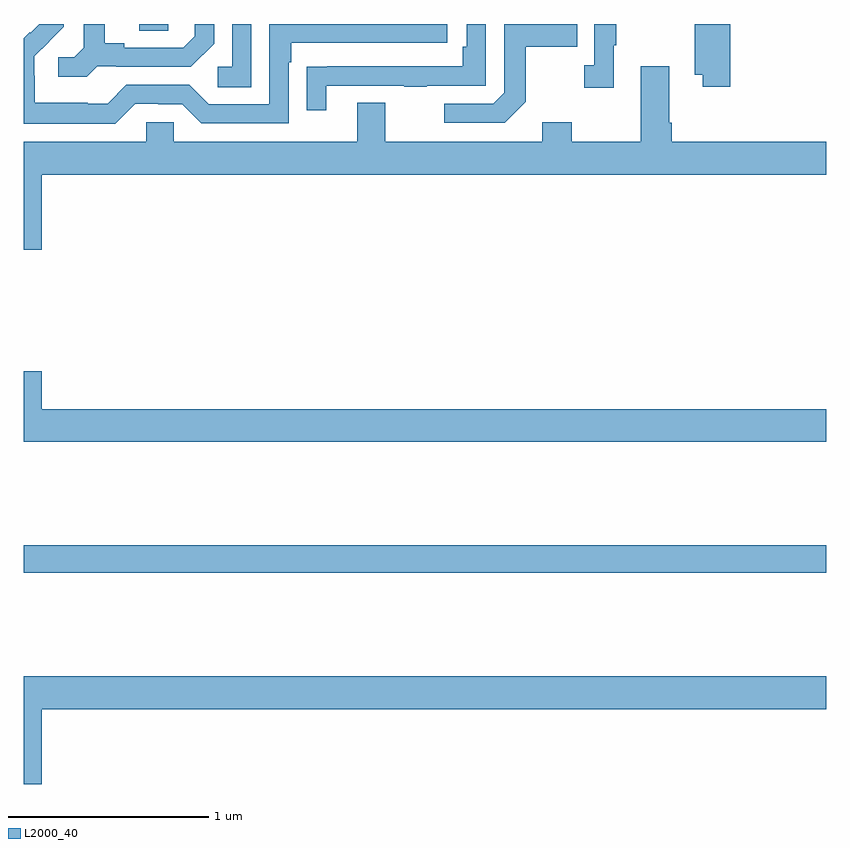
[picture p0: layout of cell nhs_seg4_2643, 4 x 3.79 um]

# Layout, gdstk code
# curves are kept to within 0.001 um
import gdstk
lib = gdstk.Library(unit=1e-6, precision=1e-09)
def R(c, l, rs):  # rectangles x0, y0, x1, y1
    for r in rs: c.add(gdstk.rectangle(r[:2], r[2:], *l))
def P(c, l, *ps):  # polygons
    for p in ps: c.add(gdstk.Polygon(p, *l))
L2000_40 = (2000, 40)

nhs_seg4_2643 = lib.new_cell('nhs_seg4_2643')
R(nhs_seg4_2643, L2000_40, [(249,800.164,253,800.3), (249.575,802.867,249.72,802.9)])
P(nhs_seg4_2643, L2000_40, [(249.555,802.503),(249.671,802.503),(249.671,802.5),(249.789,802.5),(249.885,802.404),(250.32,802.404),(250.32,802.709),(250.333,802.709),(250.333,802.806),(251.11,802.806),(251.11,802.9),(250.224,802.9),(250.224,802.5),(249.921,802.5),(249.825,802.596),(249.51,802.596),(249.417,802.503),(249.317,802.503),(249.317,802.507),(249.054,802.507),(249.054,802.641),(249.052,802.641),(249.052,802.738),(249.198,802.886),(249.198,802.9),(249.076,802.9),(249.033,802.857),(249.03,802.86),(249,802.83),(249,802.403),(249.455,802.403)],
  [(249.366,802.689),(249.46,802.689),(249.46,802.686),(249.832,802.686),(249.948,802.802),(249.948,802.9),(249.851,802.9),(249.851,802.839),(249.794,802.782),(249.499,802.782),(249.499,802.805),(249.403,802.805),(249.403,802.9),(249.299,802.9),(249.299,802.781),(249.252,802.734),(249.171,802.734),(249.171,802.637),(249.314,802.637)],
  [(251.941,802.793),(251.953,802.793),(251.953,802.9),(251.844,802.9),(251.844,802.694),(251.793,802.694),(251.793,802.581),(251.941,802.581)],
  [(250.507,802.593),(250.897,802.593),(250.897,802.588),(251.009,802.588),(251.009,802.593),(251.304,802.593),(251.304,802.9),(251.208,802.9),(251.208,802.786),(251.188,802.786),(251.188,802.689),(250.513,802.689),(250.513,802.688),(250.411,802.688),(250.411,802.47),(250.507,802.47)],
  [(252.521,802.9),(252.346,802.9),(252.346,802.646),(252.386,802.646),(252.386,802.587),(252.521,802.587)],
  [(250.134,802.9),(250.038,802.9),(250.038,802.686),(249.966,802.686),(249.966,802.585),(250.134,802.585)],
  [(251.503,802.513),(251.503,802.786),(251.759,802.786),(251.759,802.9),(251.394,802.9),(251.394,802.557),(251.34,802.503),(251.097,802.503),(251.097,802.407),(251.397,802.407)],
  [(249.088,802.148),(253,802.148),(253,802.312),(252.23,802.312),(252.23,802.408),(252.217,802.408),(252.217,802.69),(252.077,802.69),(252.077,802.312),(251.733,802.312),(251.733,802.411),(251.585,802.411),(251.585,802.312),(250.801,802.312),(250.801,802.507),(250.661,802.507),(250.661,802.312),(249.747,802.312),(249.747,802.41),(249.609,802.41),(249.609,802.312),(249,802.312),(249,801.774),(249.088,801.774)],
  [(253,800.98),(249.088,800.98),(249.088,801.169),(249,801.169),(249,800.816),(253,800.816)],
  [(249.088,799.484),(253,799.484),(253,799.648),(249,799.648),(249,799.11),(249.088,799.11)])

lib.write_gds('nhs_seg4_2643.gds')
